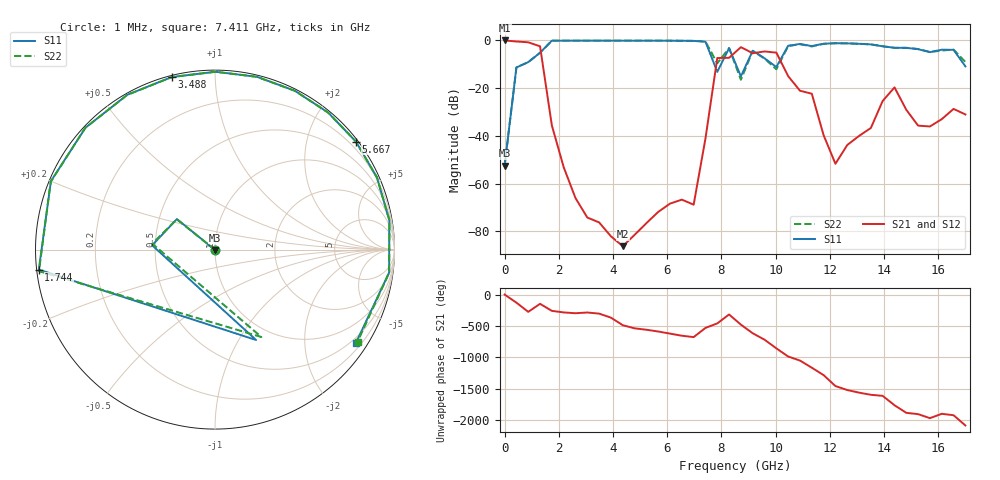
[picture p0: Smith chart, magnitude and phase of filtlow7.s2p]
# GHz S RI R 50
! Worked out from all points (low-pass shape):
!   40 points, 1 MHz to 17 GHz, reference 50 ohm
!   highest |S21| = -0.01 dB at 1 MHz (marker M1); lowest = -86.2 dB at 4.36 GHz (marker M2)
!   |S21| within 3 dB of the highest: start of sweep to 1.316 GHz; 8.7 GHz to 8.751 GHz (50.92 MHz wide, 0.584 % of centre)
!   lowest |S11| = -52.5 dB at 1 MHz (marker M3), VSWR 1.00, Z = 50.1 - j0.227 ohm
!   |S11| at or under -10 dB: start of sweep to 694.3 MHz; 7.737 GHz to 7.986 GHz (249.3 MHz wide, 3.17 % of centre); 8.532 GHz to 8.923 GHz (390.5 MHz wide, 4.47 % of centre)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
!   |S22| runs from -52.5 to -0.1 dB; largest |S21 - S12| = 1.4e-13
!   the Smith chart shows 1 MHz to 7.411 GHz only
!   S11 on the Smith chart (normalised r, x): 1 MHz: 1.00, -0.00; 1.744 GHz: 0.01, -0.06; 3.488 GHz: 0.01, +0.78; 5.667 GHz: 0.05, +2.95; 7.411 GHz: 0.35, -3.28
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0.001  0.000704 -0.00226  0.9992 -0.0057  0.9992 -0.0057  0.000704 -0.00226
0.4368718  -0.2121 0.17  -0.6021 -0.7359  -0.6021 -0.7359  -0.213 0.169
0.8727436  -0.3504 0.0241  0.0847 0.911  0.0847 0.911  -0.3495 0.0329
1.308615  0.2293 -0.5038  -0.6358 -0.4022  -0.6358 -0.4022  0.2583 -0.4869
1.744487  -0.9817 -0.1116  -0.00303 0.0162  -0.00303 0.0162  -0.9806 -0.1201
3.052103  -0.4873 0.8631  5.25e-05 0.000188  5.25e-05 0.000188  -0.4891 0.8621
3.487974  -0.2406 0.9614  8.46e-05 0.000129  8.46e-05 0.000129  -0.2419 0.9611
4.359718  0.2343 0.9625  -2.95e-05 -3.92e-05  -2.95e-05 -3.92e-05  0.2343 0.9625
5.667333  0.785 0.602  -0.000174 0.000187  -0.000174 0.000187  0.786 0.6008
6.974949  0.9701 -0.1283  0.000262 0.000251  0.000262 0.000251  0.9705 -0.128
7.410821  0.7844 -0.5214  -0.00868 -0.00148  -0.00868 -0.00148  0.7947 -0.5124
7.846692  0.0341 -0.2165  -0.0642 -0.4231  -0.0642 -0.4231  0.0367 -0.3303
8.282564  0.43 -0.5369  0.3139 0.2983  0.3139 0.2983  0.4354 -0.5386
8.718436  0.1771 -0.00342  -0.346 -0.6348  -0.346 -0.6348  0.1449 -0.0404
9.154308  0.609 0.0276  -0.1368 0.5222  -0.1368 0.5222  0.6034 0.0364
9.590179  0.205 -0.3696  0.5871 0.0269  0.5871 0.0269  0.1889 -0.3717
10.02605  0.2621 -0.091  -0.3907 -0.395  -0.3907 -0.395  0.2205 -0.1157
11.33367  0.3426 -0.6812  0.0105 -0.0757  0.0105 -0.0757  0.342 -0.6662
12.20541  -0.1341 -0.8647  0.00254 -0.000603  0.00254 -0.000603  -0.1232 -0.863
14.38477  -0.6566 0.2482  0.0773 0.0692  0.0773 0.0692  -0.655 0.2486
16.12826  0.0528 0.6383  -0.00163 -0.0224  -0.00163 -0.0224  0.0216 0.6143
17  0.2293 -0.1713  0.00448 0.0278  0.00448 0.0278  0.3138 -0.1611
